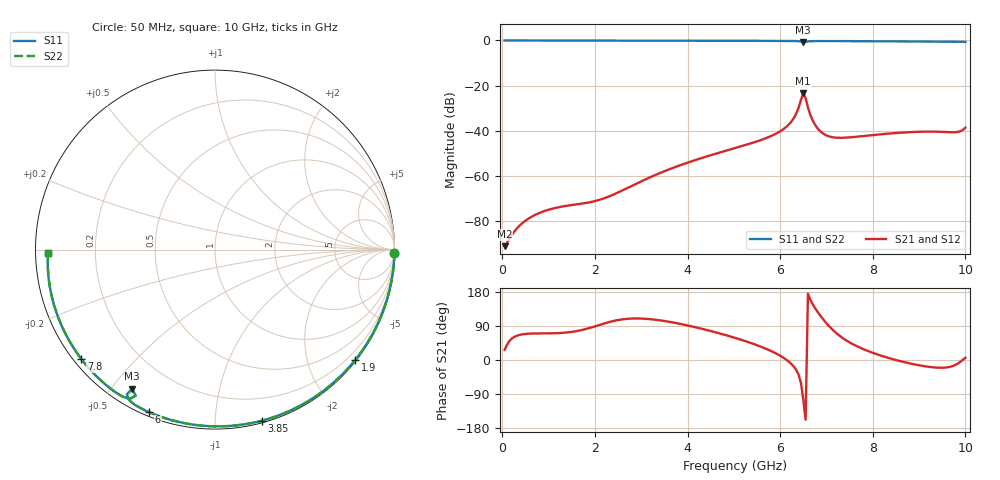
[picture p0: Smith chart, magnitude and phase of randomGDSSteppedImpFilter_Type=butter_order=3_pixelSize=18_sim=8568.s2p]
! freq	dB(S11)	phase(S11)	dB(S12)	phase(S12)
!  dB(S21)	phase(S21)	dB(S22)	phase(S22)
!S-par simulation data
#  GHz  S  DB  R 50
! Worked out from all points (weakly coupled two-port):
!   200 points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, 50 MHz to 10 GHz, reference 50 ohm
!   highest |S21| = -23.35 dB at 6.5 GHz (marker M1); lowest = -91.3 dB at 50 MHz (marker M2)
!   lowest |S11| = -0.9 dB at 6.5 GHz (marker M3), VSWR 19.39, Z = 3.41 - j28.3 ohm
!   |S11| at or under -10 dB: nowhere
!   |S22| runs from -0.9 to 0.0 dB; largest |S21 - S12| = 0
!   S11 on the Smith chart (normalised r, x): 50 MHz: open; 1.9 GHz: 0.03, -2.89; 3.85 GHz: 0.02, -1.31; 6 GHz: 0.02, -0.67; 7.8 GHz: 0.02, -0.36; 10 GHz: 0.04, -0.01
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0.05  -0.00 -1.0  -91.32 26.9  -91.32 26.9  -0.00 -1.0
0.5  -0.01 -10.2  -80.01 68.7  -80.01 68.7  -0.01 -10.2
1  -0.02 -20.3  -75.13 70.3  -75.13 70.3  -0.02 -20.3
1.75  -0.04 -35.2  -72.33 80.0  -72.33 80.0  -0.04 -35.2
1.9  -0.05 -38.2  -71.78 85.0  -71.78 85.0  -0.05 -38.2
2.35  -0.06 -46.9  -68.86 101.5  -68.86 101.5  -0.06 -46.9
3.4  -0.09 -66.6  -58.90 104.8  -58.90 104.8  -0.09 -66.6
3.85  -0.10 -74.8  -55.33 95.1  -55.33 95.1  -0.10 -74.8
5.05  -0.15 -95.8  -47.63 57.5  -47.63 57.5  -0.15 -95.8
6  -0.20 -112.0  -40.34 11.3  -40.34 11.3  -0.20 -112.0
6.15  -0.21 -114.7  -38.04 -0.8  -38.04 -0.8  -0.21 -114.7
6.3  -0.24 -117.6  -34.28 -18.2  -34.28 -18.2  -0.24 -117.6
6.4  -0.33 -120.0  -29.78 -39.2  -29.78 -39.2  -0.33 -119.9
6.5  -0.90 -120.7  -23.35 -105.5  -23.35 -105.5  -0.89 -120.7
6.7  -0.30 -121.9  -35.41 147.6  -35.41 147.6  -0.30 -121.9
6.85  -0.28 -124.8  -39.98 119.9  -39.98 119.9  -0.28 -124.8
7.05  -0.28 -128.3  -42.55 90.0  -42.55 90.0  -0.28 -128.2
7.3  -0.29 -132.4  -43.22 62.4  -43.22 62.4  -0.29 -132.4
7.8  -0.33 -140.6  -42.43 28.5  -42.43 28.5  -0.33 -140.6
8.35  -0.39 -149.7  -41.33 5.1  -41.33 5.1  -0.39 -149.7
9.8  -0.58 -174.9  -40.70 -12.0  -40.70 -12.0  -0.58 -174.9
10  -0.63 -178.9  -38.74 5.8  -38.74 5.8  -0.63 -178.9
